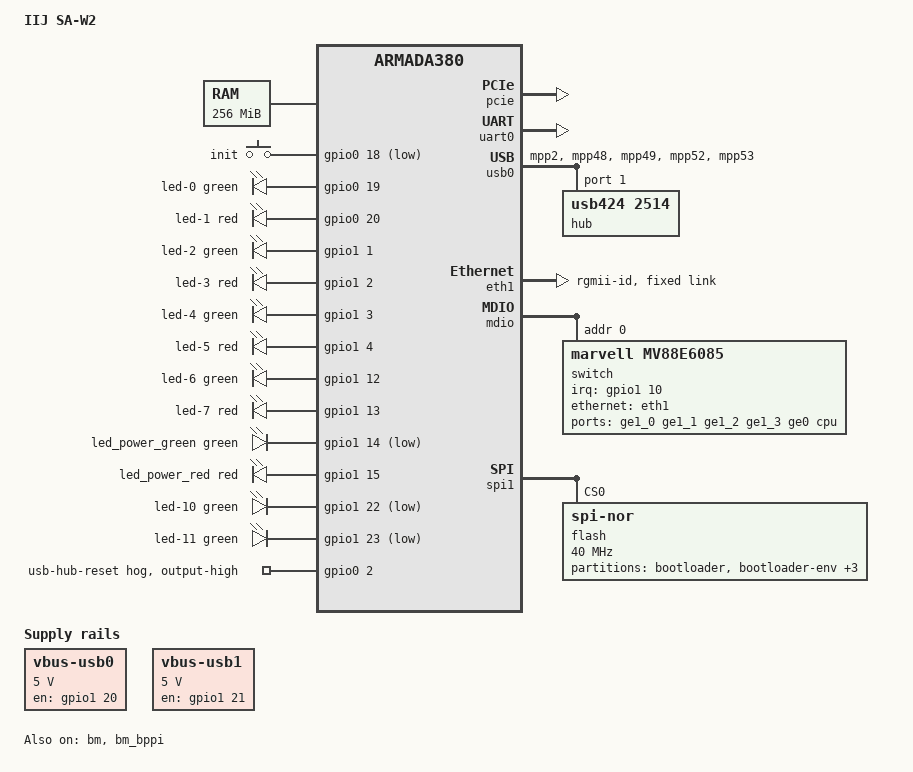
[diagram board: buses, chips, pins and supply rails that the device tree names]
// SPDX-License-Identifier: GPL-2.0-or-later OR MIT

/dts-v1/;

#include <dt-bindings/gpio/gpio.h>
#include <dt-bindings/input/input.h>
#include <dt-bindings/leds/common.h>
#include "armada-380.dtsi"

/ {
	model = "IIJ SA-W2";
	compatible = "iij,sa-w2", "marvell,armada380";

	aliases {
		led-boot = &led_power_green;
		led-failsafe = &led_power_red;
		led-running = &led_power_green;
		led-upgrade = &led_power_green;
		label-mac-device = &ge0;
	};

	chosen {
		stdout-path = "serial0:115200n8";
	};

	memory@0 {
		device_type = "memory";
		reg = <0x00000000 0x10000000>; /* 256MB */
	};

	soc {
		ranges = <MBUS_ID(0xf0, 0x01) 0 0xd0000000 0x100000
			  MBUS_ID(0x01, 0x1d) 0 0xfff00000 0x100000
			  MBUS_ID(0x09, 0x19) 0 0xf1100000 0x10000
			  MBUS_ID(0x09, 0x15) 0 0xf1110000 0x10000
			  MBUS_ID(0x0c, 0x04) 0 0xf1200000 0x100000>;

		pcie {
			status = "okay";

			pcie@1,0 {
				status = "okay";
			};

			pcie@3,0 {
				status = "okay";
			};
		};
	};

	keys {
		compatible = "gpio-keys";
		pinctrl-names = "default";
		pinctrl-0 = <&pmx_keys_pins>;

		button-init {
			label = "init";
			linux,code = <KEY_RESTART>;
			gpios = <&gpio0 18 GPIO_ACTIVE_LOW>;
		};
	};

	leds {
		compatible = "gpio-leds";
		pinctrl-names = "default";
		pinctrl-0 = <&pmx_leds_pins>;

		led-0 {
			gpios = <&gpio0 19 GPIO_ACTIVE_HIGH>;
			color = <LED_COLOR_ID_GREEN>;
			function = LED_FUNCTION_WLAN_5GHZ;
			linux,default-trigger = "phy0tpt";
		};

		led-1 {
			gpios = <&gpio0 20 GPIO_ACTIVE_HIGH>;
			color = <LED_COLOR_ID_RED>;
			function = LED_FUNCTION_WLAN_5GHZ;
		};

		led-2 {
			gpios = <&gpio1 1 GPIO_ACTIVE_HIGH>;
			color = <LED_COLOR_ID_GREEN>;
			function = LED_FUNCTION_STATUS;
		};

		led-3 {
			gpios = <&gpio1 2 GPIO_ACTIVE_HIGH>;
			color = <LED_COLOR_ID_RED>;
			function = LED_FUNCTION_STATUS;
		};

		led-4 {
			gpios = <&gpio1 3 GPIO_ACTIVE_HIGH>;
			color = <LED_COLOR_ID_GREEN>;
			function = LED_FUNCTION_MOBILE;
		};

		led-5 {
			gpios = <&gpio1 4 GPIO_ACTIVE_HIGH>;
			color = <LED_COLOR_ID_RED>;
			function = LED_FUNCTION_MOBILE;
		};

		led-6 {
			gpios = <&gpio1 12 GPIO_ACTIVE_HIGH>;
			color = <LED_COLOR_ID_GREEN>;
			function = LED_FUNCTION_WLAN_2GHZ;
			linux,default-trigger = "phy1tpt";
		};

		led-7 {
			gpios = <&gpio1 13 GPIO_ACTIVE_HIGH>;
			color = <LED_COLOR_ID_RED>;
			function = LED_FUNCTION_WLAN_2GHZ;
		};

		led_power_green: led-8 {
			gpios = <&gpio1 14 GPIO_ACTIVE_LOW>;
			color = <LED_COLOR_ID_GREEN>;
			function = LED_FUNCTION_POWER;
		};

		led_power_red: led-9 {
			gpios = <&gpio1 15 GPIO_ACTIVE_HIGH>;
			color = <LED_COLOR_ID_RED>;
			function = LED_FUNCTION_POWER;
		};

		led-10 {
			gpios = <&gpio1 22 GPIO_ACTIVE_LOW>;
			color = <LED_COLOR_ID_GREEN>;
			function = LED_FUNCTION_USB;
			function-enumerator = <1>;
			linux,default-trigger = "usbport";
			trigger-sources = <&hub_port2>;
		};

		led-11 {
			gpios = <&gpio1 23 GPIO_ACTIVE_LOW>;
			color = <LED_COLOR_ID_GREEN>;
			function = LED_FUNCTION_USB;
			function-enumerator = <0>;
			linux,default-trigger = "usbport";
			trigger-sources = <&hub_port1>;
		};
	};

	regulator-vbus-usb0 {
		compatible = "regulator-fixed";
		regulator-name = "vbus-usb0";
		regulator-min-microvolt = <5000000>;
		regulator-max-microvolt = <5000000>;
		gpios = <&gpio1 20 GPIO_ACTIVE_HIGH>;
		enable-active-high;
		regulator-always-on;
	};

	regulator-vbus-usb1 {
		compatible = "regulator-fixed";
		regulator-name = "vbus-usb1";
		regulator-min-microvolt = <5000000>;
		regulator-max-microvolt = <5000000>;
		gpios = <&gpio1 21 GPIO_ACTIVE_HIGH>;
		enable-active-high;
		regulator-always-on;
	};
};

&uart0 {
	pinctrl-names = "default";
	pinctrl-0 = <&uart0_pins>;
	status = "okay";
};

&pinctrl {
	pmx_usb_pins: usb-pins {
		marvell,pins = "mpp2",		 /* smsc usb2514b reset */
			       "mpp48", "mpp49", /* port over current */
			       "mpp52", "mpp53"; /* port vbus */
		marvell,function = "gpio";
	};

	pmx_keys_pins: keys-pins {
		marvell,pins = "mpp18";
		marvell,function = "gpio";
	};

	pmx_leds_pins: leds-pins {
		marvell,pins = "mpp19", "mpp20", "mpp33", "mpp34", "mpp35",
			       "mpp36", "mpp44", "mpp45", "mpp46", "mpp47",
			       "mpp54", "mpp55";
		marvell,function = "gpio";
	};
};

&gpio0 {
	usb-hub-reset {
		gpio-hog;
		gpios = <2 GPIO_ACTIVE_HIGH>;
		output-high;
	};
};

&usb0 {
	pinctrl-names = "default";
	pinctrl-0 = <&pmx_usb_pins>;
	status = "okay";
	#address-cells = <1>;
	#size-cells = <0>;

	/* SMSC USB2514B on PCB */
	hub@1 {
		compatible = "usb424,2514";
		reg = <1>;
		#address-cells = <1>;
		#size-cells = <0>;

		hub_port1: port@1 {
			reg = <1>;
			#trigger-source-cells = <0>;
		};

		hub_port2: port@2 {
			reg = <2>;
			#trigger-source-cells = <0>;
		};
	};
};

&bm {
	status = "okay";
};

&bm_bppi {
	status = "okay";
};

&eth1 {
	pinctrl-names = "default";
	pinctrl-0 = <&ge1_rgmii_pins>;
	status = "okay";

	phy-connection-type = "rgmii-id";
	buffer-manager = <&bm>;
	bm,pool-long = <2>;
	bm,pool-short = <3>;

	nvmem-cells = <&macaddr_bdinfo_6 1>;
	nvmem-cell-names = "mac-address";

	fixed-link {
		speed = <1000>;
		full-duplex;
	};
};

&mdio {
	pinctrl-names = "default";
	pinctrl-0 = <&mdio_pins>;
	status = "okay";

	/* Marvell 88E6172 */
	switch@0 {
		compatible = "marvell,mv88e6085";
		reg = <0x0>;
		interrupt-controller;
		#interrupt-cells = <2>;
		interrupt-parent = <&gpio1>;
		interrupts = <10 IRQ_TYPE_LEVEL_LOW>;

		ports {
			#address-cells = <1>;
			#size-cells = <0>;

			port@0 {
				reg = <0>;
				label = "ge1_0";
			};

			port@1 {
				reg = <1>;
				label = "ge1_1";
			};

			port@2 {
				reg = <2>;
				label = "ge1_2";
			};

			port@3 {
				reg = <3>;
				label = "ge1_3";
			};

			ge0: port@4 {
				reg = <4>;
				label = "ge0";
				nvmem-cells = <&macaddr_bdinfo_6 0>;
				nvmem-cell-names = "mac-address";
			};

			/*
			 * eth0 is connected to port5 for WAN connection
			 * on port4 ("GE0")
			 */

			port@6 {
				reg = <6>;
				label = "cpu";
				ethernet = <&eth1>;
				phy-connection-type = "rgmii-id";

				fixed-link {
					speed = <1000>;
					full-duplex;
				};
			};
		};
	};
};

&rtc {
	status = "disabled";
};

&spi1 {
	pinctrl-names = "default";
	pinctrl-0 = <&spi1_pins>;
	status = "okay";

	flash@0 {
		compatible = "jedec,spi-nor";
		reg = <0>;
		spi-max-frequency = <40000000>;

		partitions {
			compatible = "fixed-partitions";
			#address-cells = <1>;
			#size-cells = <1>;

			partition@0 {
				reg = <0x0 0x100000>;
				label = "bootloader";
				read-only;
			};

			partition@100000 {
				reg = <0x100000 0x10000>;
				label = "bootloader-env";
				read-only;
			};

			partition@110000 {
				reg = <0x110000 0xf0000>;
				label = "board_info";
				read-only;

				nvmem-layout {
					compatible = "fixed-layout";
					#address-cells = <1>;
					#size-cells = <1>;

					macaddr_bdinfo_6: macaddr@6 {
						compatible = "mac-base";
						reg = <0x6 0x6>;
						#nvmem-cell-cells = <1>;
					};
				};
			};

			partition@200000 {
				compatible = "iij,seil-firmware";
				reg = <0x200000 0xf00000>;
				label = "firmware";
				iij,bootdev-name = "flash";
				iij,seil-id = <0x5345494c 0x32303135>;
			};

			partition@1100000 {
				compatible = "iij,seil-firmware";
				reg = <0x1100000 0xf00000>;
				label = "rescue";
				iij,bootdev-name = "rescue";
				iij,seil-id = <0x5345494c 0x32303135>;
			};
		};
	};
};
